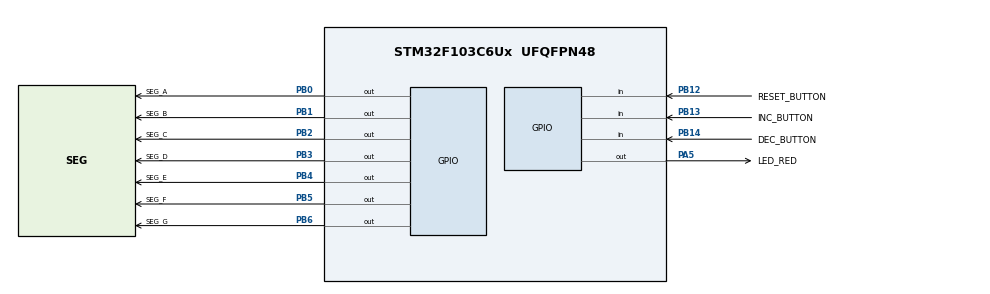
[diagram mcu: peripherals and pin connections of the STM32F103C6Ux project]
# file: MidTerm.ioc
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Mcu.Family=STM32F1
Mcu.Name=STM32F103C6Ux
Mcu.Package=UFQFPN48
NVIC.PriorityGroup=NVIC_PRIORITYGROUP_4
NVIC.TIM2_IRQn=true\:0\:0\:false\:false\:true\:true\:true\:true
PA5.GPIO_Label=LED_RED
PA5.Signal=GPIO_Output
PB0.GPIO_Label=SEG_A
PB0.Signal=GPIO_Output
PB1.GPIO_Label=SEG_B
PB1.Signal=GPIO_Output
PB12.GPIO_Label=RESET_BUTTON
PB12.GPIO_PuPd=GPIO_PULLUP
PB12.Signal=GPIO_Input
PB13.GPIO_Label=INC_BUTTON
PB13.GPIO_PuPd=GPIO_PULLUP
PB13.Signal=GPIO_Input
PB14.GPIO_Label=DEC_BUTTON
PB14.GPIO_PuPd=GPIO_PULLUP
PB14.Signal=GPIO_Input
PB2.GPIO_Label=SEG_C
PB2.Signal=GPIO_Output
PB3.GPIO_Label=SEG_D
PB3.Signal=GPIO_Output
PB4.GPIO_Label=SEG_E
PB4.Signal=GPIO_Output
PB5.GPIO_Label=SEG_F
PB5.Signal=GPIO_Output
PB6.GPIO_Label=SEG_G
PB6.Signal=GPIO_Output
ProjectManager.HeapSize=0x200
ProjectManager.StackSize=0x400
ProjectManager.TargetToolchain=STM32CubeIDE
RCC.APB1Freq_Value=8000000
RCC.APB2Freq_Value=8000000
TIM2.Period=9
TIM2.Prescaler=7999
VP_TIM2_VS_ClockSourceINT.Mode=Internal
board=custom

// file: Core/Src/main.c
/* USER CODE BEGIN Header */
/**
  ******************************************************************************
  * @file           : main.c
  * @brief          : Main program body
  ******************************************************************************
  * @attention
  *
  * Copyright (c) 2022 STMicroelectronics.
  * All rights reserved.
  *
  * This software is licensed under terms that can be found in the LICENSE file
  * in the root directory of this software component.
  * If no LICENSE file comes with this software, it is provided AS-IS.
  *
  ******************************************************************************
  */
/* USER CODE END Header */
#include "main.h"

/* USER CODE BEGIN Includes */
#include "button.h"
#include "display_7SEG.h"
#include "soft_timer.h"
#include "fsm.h"
/* USER CODE END Includes */

/* USER CODE BEGIN PD */
#define INTERRUPT_TIME 10
/* USER CODE END PD */

TIM_HandleTypeDef htim2;

void SystemClock_Config(void);
static void MX_GPIO_Init(void);
static void MX_TIM2_Init(void);
/* USER CODE BEGIN PFP */
void blinkLED(uint16_t period);
/* USER CODE END PFP */

int main(void)
{
  /* USER CODE BEGIN 1 */
	initSoftwareTimer();
	initButton();
  /* USER CODE END 1 */

  /* MCU Configuration--------------------------------------------------------*/

  /* Reset of all peripherals, Initializes the Flash interface and the Systick. */
  HAL_Init();

  /* Configure the system clock */
  SystemClock_Config();

  /* Initialize all configured peripherals */
  MX_GPIO_Init();
  MX_TIM2_Init();
  /* USER CODE BEGIN 2 */
  HAL_TIM_Base_Start_IT (&htim2);
  /* USER CODE END 2 */

  /* Infinite loop */
  /* USER CODE BEGIN WHILE */
  while (1)
  {
	  runFSM3();
    /* USER CODE END WHILE */

  }
}

void SystemClock_Config(void)
{
  RCC_OscInitTypeDef RCC_OscInitStruct = {0};
  RCC_ClkInitTypeDef RCC_ClkInitStruct = {0};

  /** Initializes the RCC Oscillators according to the specified parameters
  * in the RCC_OscInitTypeDef structure.
  */
  RCC_OscInitStruct.OscillatorType = RCC_OSCILLATORTYPE_HSI;
  RCC_OscInitStruct.HSIState = RCC_HSI_ON;
  RCC_OscInitStruct.HSICalibrationValue = RCC_HSICALIBRATION_DEFAULT;
  RCC_OscInitStruct.PLL.PLLState = RCC_PLL_NONE;
  if (HAL_RCC_OscConfig(&RCC_OscInitStruct) != HAL_OK)
  {
    Error_Handler();
  }

  /** Initializes the CPU, AHB and APB buses clocks
  */
  RCC_ClkInitStruct.ClockType = RCC_CLOCKTYPE_HCLK|RCC_CLOCKTYPE_SYSCLK
                              |RCC_CLOCKTYPE_PCLK1|RCC_CLOCKTYPE_PCLK2;
  RCC_ClkInitStruct.SYSCLKSource = RCC_SYSCLKSOURCE_HSI;
  RCC_ClkInitStruct.AHBCLKDivider = RCC_SYSCLK_DIV1;
  RCC_ClkInitStruct.APB1CLKDivider = RCC_HCLK_DIV1;
  RCC_ClkInitStruct.APB2CLKDivider = RCC_HCLK_DIV1;

  if (HAL_RCC_ClockConfig(&RCC_ClkInitStruct, FLASH_LATENCY_0) != HAL_OK)
  {
    Error_Handler();
  }
}

static void MX_TIM2_Init(void)
{

  TIM_ClockConfigTypeDef sClockSourceConfig = {0};
  TIM_MasterConfigTypeDef sMasterConfig = {0};

  htim2.Instance = TIM2;
  htim2.Init.Prescaler = 7999;
  htim2.Init.CounterMode = TIM_COUNTERMODE_UP;
  htim2.Init.Period = 9;
  htim2.Init.ClockDivision = TIM_CLOCKDIVISION_DIV1;
  htim2.Init.AutoReloadPreload = TIM_AUTORELOAD_PRELOAD_DISABLE;
  if (HAL_TIM_Base_Init(&htim2) != HAL_OK)
  {
    Error_Handler();
  }
  sClockSourceConfig.ClockSource = TIM_CLOCKSOURCE_INTERNAL;
  if (HAL_TIM_ConfigClockSource(&htim2, &sClockSourceConfig) != HAL_OK)
  {
    Error_Handler();
  }
  sMasterConfig.MasterOutputTrigger = TIM_TRGO_RESET;
  sMasterConfig.MasterSlaveMode = TIM_MASTERSLAVEMODE_DISABLE;
  if (HAL_TIMEx_MasterConfigSynchronization(&htim2, &sMasterConfig) != HAL_OK)
  {
    Error_Handler();
  }

}

static void MX_GPIO_Init(void)
{
  GPIO_InitTypeDef GPIO_InitStruct = {0};

  /* GPIO Ports Clock Enable */
  __HAL_RCC_GPIOA_CLK_ENABLE();
  __HAL_RCC_GPIOB_CLK_ENABLE();

  /*Configure GPIO pin Output Level */
  HAL_GPIO_WritePin(LED_RED_GPIO_Port, LED_RED_Pin, GPIO_PIN_RESET);

  /*Configure GPIO pin Output Level */
  HAL_GPIO_WritePin(GPIOB, SEG_A_Pin|SEG_B_Pin|SEG_C_Pin|SEG_D_Pin
                          |SEG_E_Pin|SEG_F_Pin|SEG_G_Pin, GPIO_PIN_RESET);

  /*Configure GPIO pin : LED_RED_Pin */
  GPIO_InitStruct.Pin = LED_RED_Pin;
  GPIO_InitStruct.Mode = GPIO_MODE_OUTPUT_PP;
  GPIO_InitStruct.Pull = GPIO_NOPULL;
  GPIO_InitStruct.Speed = GPIO_SPEED_FREQ_LOW;
  HAL_GPIO_Init(LED_RED_GPIO_Port, &GPIO_InitStruct);

  /*Configure GPIO pins : SEG_A_Pin SEG_B_Pin SEG_C_Pin SEG_D_Pin
                           SEG_E_Pin SEG_F_Pin SEG_G_Pin */
  GPIO_InitStruct.Pin = SEG_A_Pin|SEG_B_Pin|SEG_C_Pin|SEG_D_Pin
                          |SEG_E_Pin|SEG_F_Pin|SEG_G_Pin;
  GPIO_InitStruct.Mode = GPIO_MODE_OUTPUT_PP;
  GPIO_InitStruct.Pull = GPIO_NOPULL;
  GPIO_InitStruct.Speed = GPIO_SPEED_FREQ_LOW;
  HAL_GPIO_Init(GPIOB, &GPIO_InitStruct);

  /*Configure GPIO pins : RESET_BUTTON_Pin INC_BUTTON_Pin DEC_BUTTON_Pin */
  GPIO_InitStruct.Pin = RESET_BUTTON_Pin|INC_BUTTON_Pin|DEC_BUTTON_Pin;
  GPIO_InitStruct.Mode = GPIO_MODE_INPUT;
  GPIO_InitStruct.Pull = GPIO_PULLUP;
  HAL_GPIO_Init(GPIOB, &GPIO_InitStruct);

}

/* USER CODE BEGIN 4 */
void HAL_TIM_PeriodElapsedCallback (TIM_HandleTypeDef * htim){
	readButton();
	runTimer();
	display_7SEG(0);

	blinkLED(1000);
}

void blinkLED(uint16_t period){
	static uint16_t counter = 0;

	counter = (counter + 1) % (period/INTERRUPT_TIME);

	if (counter == 0) HAL_GPIO_WritePin(LED_RED_GPIO_Port, LED_RED_Pin, RESET);
	if (counter == (period/2)/INTERRUPT_TIME) HAL_GPIO_WritePin(LED_RED_GPIO_Port, LED_RED_Pin, SET);
}
/* USER CODE END 4 */

void Error_Handler(void)
{
  __disable_irq();
  while (1)
  {
  }
}
